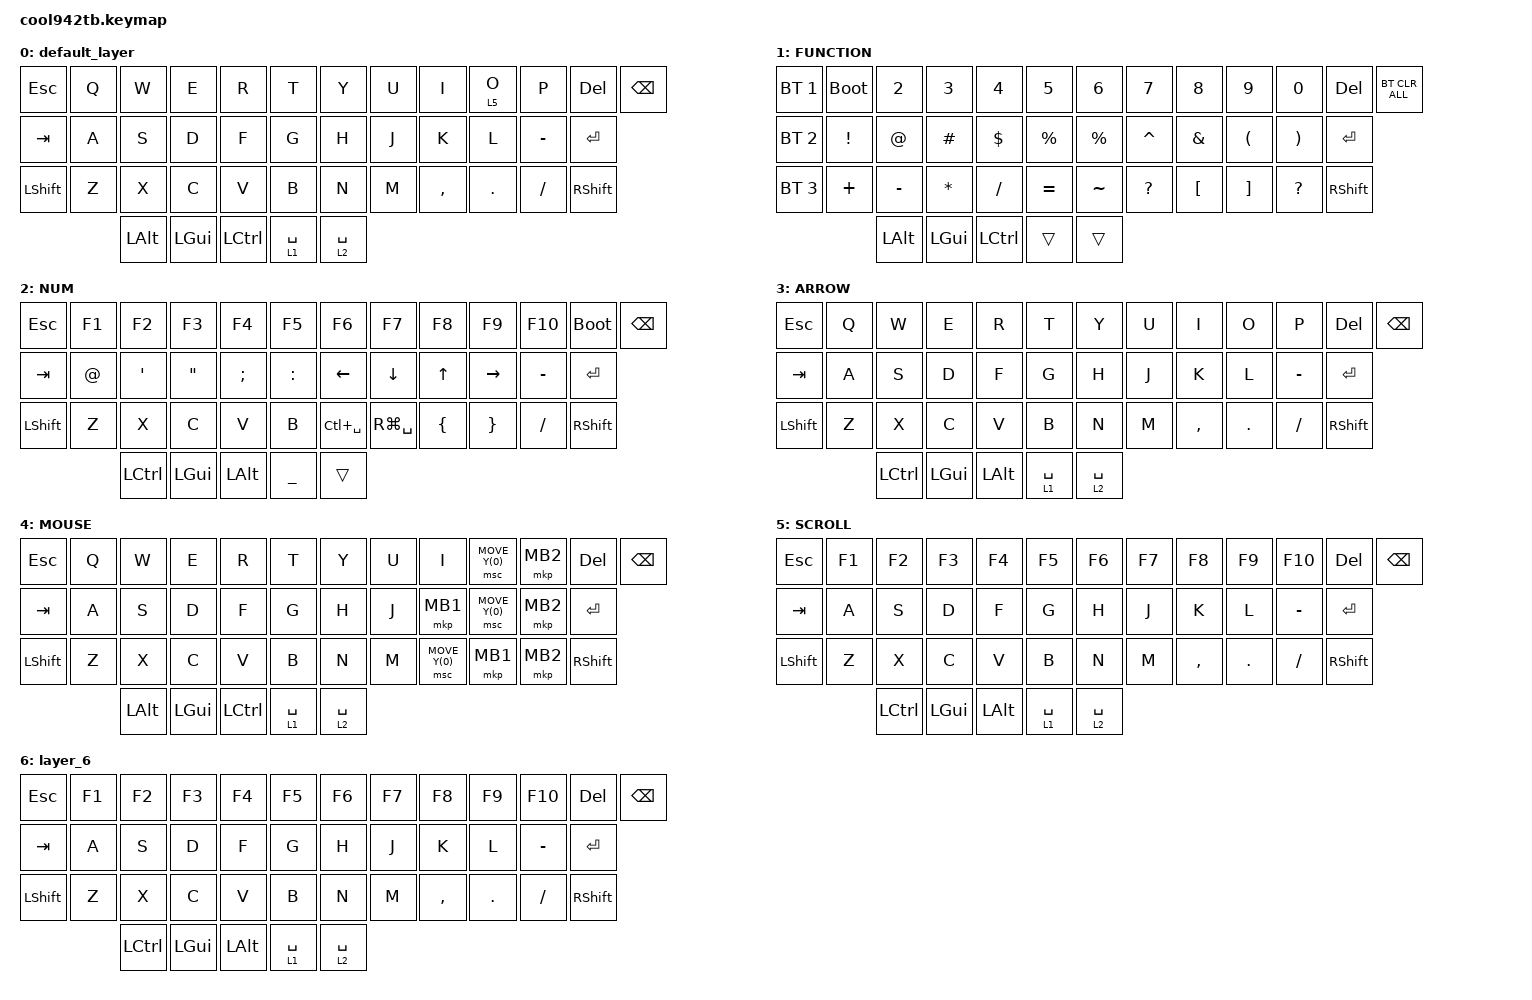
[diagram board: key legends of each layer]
#include <behaviors.dtsi>
#include <dt-bindings/zmk/bt.h>
#include <dt-bindings/zmk/keys.h>
#include <dt-bindings/zmk/pointing.h>
#include <dt-bindings/zmk/pointing.h>

#define MOUSE 4
#define SCROLL 5
#define NUM 6

&mt {
    flavor = "balanced";
    quick-tap-ms = <0>;
};

/ {
    combos {
        compatible = "zmk,combos";

        double_quotation {
            bindings = <&kp DOUBLE_QUOTES>;
            key-positions = <23 22>;
        };

        eq {
            bindings = <&kp EQUAL>;
            key-positions = <9 10>;
        };

        atm {
            bindings = <&kp AT_SIGN>;
            key-positions = <1 2>;
        };

        capsl {
            bindings = <&kp CAPS>;
            key-positions = <14 15>;
        };
    };

    macros {
        to_layer_0: to_layer_0 {
            compatible = "zmk,behavior-macro-one-param";
            #binding-cells = <1>;
            bindings = <&to 0 &macro_param_1to1 &kp MACRO_PLACEHOLDER>;
            label = "TO_LAYER_0";
        };
    };

    behaviors {
        lt_to_layer_0: lt_to_layer_0 {
            compatible = "zmk,behavior-hold-tap";
            label = "LAYER_TAP_TO_0";
            bindings = <&mo>, <&to_layer_0>;

            #binding-cells = <2>;
            tapping-term-ms = <200>;
        };
    };

    keymap {
        compatible = "zmk,keymap";

        default_layer {
            bindings = <
&kp ESC     &kp Q  &kp W         &kp E     &kp R      &kp T        &kp Y        &kp U  &kp I      &lt 5 O     &kp P      &kp DEL     &kp BSPC
&kp TAB     &kp A  &kp S         &kp D     &kp F      &kp G        &kp H        &kp J  &kp K      &kp L       &kp MINUS  &kp ENTER
&kp LSHIFT  &kp Z  &kp X         &kp C     &kp V      &kp B        &kp N        &kp M  &kp COMMA  &kp PERIOD  &kp SLASH  &kp RSHIFT
                   &kp LEFT_ALT  &kp LGUI  &kp LCTRL  &lt 1 SPACE  &lt 2 SPACE
            >;
        };

        FUNCTION {
            bindings = <
&bt BT_SEL 1  &bootloader      &kp N2        &kp N3        &kp N4      &kp N5       &kp N6       &kp N7        &kp N8            &kp N9                &kp N0                 &kp DEL     &bt BT_CLR_ALL
&bt BT_SEL 2  &kp EXCLAMATION  &kp AT_SIGN   &kp HASH      &kp DOLLAR  &kp PERCENT  &kp PERCENT  &kp CARET     &kp AMPERSAND     &kp LEFT_PARENTHESIS  &kp RIGHT_PARENTHESIS  &kp ENTER
&bt BT_SEL 3  &kp PLUS         &kp MINUS     &kp ASTERISK  &kp SLASH   &kp EQUAL    &kp TILDE    &kp QUESTION  &kp LEFT_BRACKET  &kp RIGHT_BRACKET     &kp QUESTION           &kp RSHIFT
                               &kp LEFT_ALT  &kp LEFT_GUI  &kp LCTRL   &trans       &trans
            >;
        };

        NUM {
            bindings = <
&kp ESC     &kp F1       &kp F2     &kp F3             &kp F4         &kp F5          &kp F6         &kp F7          &kp F8          &kp F9           &kp F10    &bootloader  &kp BSPC
&kp TAB     &kp AT_SIGN  &kp SQT    &kp DOUBLE_QUOTES  &kp SEMICOLON  &kp COLON       &kp LEFT       &kp DOWN_ARROW  &kp UP_ARROW    &kp RIGHT        &kp MINUS  &kp ENTER
&kp LSHIFT  &kp Z        &kp X      &kp C              &kp V          &kp B           &kp LC(SPACE)  &kp RG(SPACE)   &kp LEFT_BRACE  &kp RIGHT_BRACE  &kp SLASH  &kp RSHIFT
                         &kp LCTRL  &kp LGUI           &kp LALT       &kp UNDERSCORE  &trans
            >;
        };

        ARROW {
            bindings = <
&kp ESC     &kp Q  &kp W      &kp E     &kp R     &kp T        &kp Y        &kp U  &kp I      &kp O       &kp P      &kp DEL     &kp BSPC
&kp TAB     &kp A  &kp S      &kp D     &kp F     &kp G        &kp H        &kp J  &kp K      &kp L       &kp MINUS  &kp ENTER
&kp LSHIFT  &kp Z  &kp X      &kp C     &kp V     &kp B        &kp N        &kp M  &kp COMMA  &kp PERIOD  &kp SLASH  &kp RSHIFT
                   &kp LCTRL  &kp LGUI  &kp LALT  &lt 1 SPACE  &lt 2 SPACE
            >;
        };

        MOUSE {
            bindings = <
&kp ESC     &kp Q  &kp W         &kp E     &kp R             &kp T        &kp Y        &kp U  &kp I           &msc MOVE_Y(0)  &mkp MB2  &kp DEL     &kp BSPC
&kp TAB     &kp A  &kp S         &kp D     &kp F             &kp G        &kp H        &kp J  &mkp MB1        &msc MOVE_Y(0)  &mkp MB2  &kp ENTER
&kp LSHIFT  &kp Z  &kp X         &kp C     &kp V             &kp B        &kp N        &kp M  &msc MOVE_Y(0)  &mkp MB1        &mkp MB2  &kp RSHIFT
                   &kp LEFT_ALT  &kp LGUI  &kp LEFT_CONTROL  &lt 1 SPACE  &lt 2 SPACE
            >;
        };

        SCROLL {
            bindings = <
&kp ESC     &kp F1  &kp F2     &kp F3    &kp F4    &kp F5       &kp F6       &kp F7  &kp F8     &kp F9      &kp F10    &kp DEL     &kp BSPC
&kp TAB     &kp A   &kp S      &kp D     &kp F     &kp G        &kp H        &kp J   &kp K      &kp L       &kp MINUS  &kp ENTER
&kp LSHIFT  &kp Z   &kp X      &kp C     &kp V     &kp B        &kp N        &kp M   &kp COMMA  &kp PERIOD  &kp SLASH  &kp RSHIFT
                    &kp LCTRL  &kp LGUI  &kp LALT  &lt 1 SPACE  &lt 2 SPACE
            >;
        };

        layer_6 {
            bindings = <
&kp ESC     &kp F1  &kp F2     &kp F3    &kp F4    &kp F5       &kp F6       &kp F7  &kp F8     &kp F9      &kp F10    &kp DEL     &kp BSPC
&kp TAB     &kp A   &kp S      &kp D     &kp F     &kp G        &kp H        &kp J   &kp K      &kp L       &kp MINUS  &kp ENTER
&kp LSHIFT  &kp Z   &kp X      &kp C     &kp V     &kp B        &kp N        &kp M   &kp COMMA  &kp PERIOD  &kp SLASH  &kp RSHIFT
                    &kp LCTRL  &kp LGUI  &kp LALT  &lt 1 SPACE  &lt 2 SPACE
            >;
        };
    };
};
